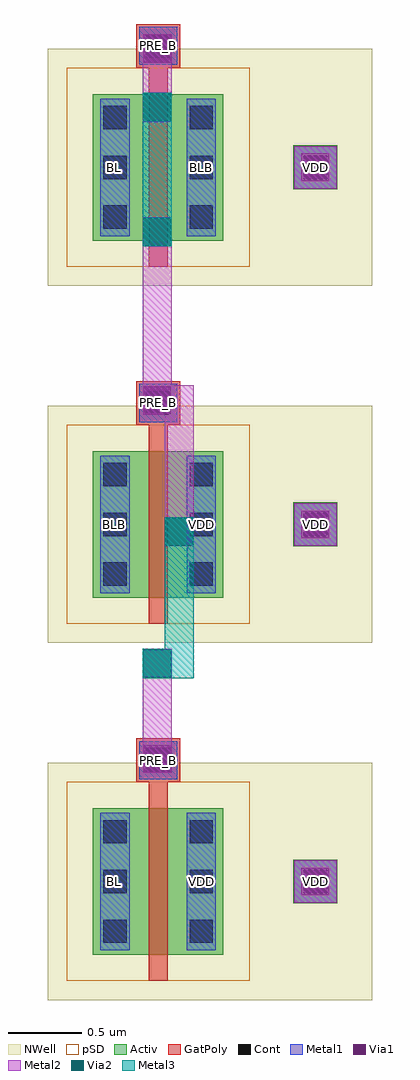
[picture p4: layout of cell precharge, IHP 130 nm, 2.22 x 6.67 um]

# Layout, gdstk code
import gdstk
lib = gdstk.Library(unit=1e-6, precision=1e-09)
def R(c, l, rs):  # rectangles x0, y0, x1, y1
    for r in rs: c.add(gdstk.rectangle(r[:2], r[2:], *l))
def A(c, l, x, y, w, h, nx, ny, dx, dy):  # array of equal rectangles
    R(c, l, [(x+i*dx, y+j*dy, x+i*dx+w, y+j*dy+h) for i in range(nx) for j in range(ny)])
Activ = (1, 0)
GatPoly = (5, 0)
Cont = (6, 0)
Metal1 = (8, 0)
Metal2 = (10, 0)
pSD = (14, 0)
Via1 = (19, 0)
Via2 = (29, 0)
Metal3 = (30, 0)
NWell = (31, 0)

sg13_lv_pmos_w1_l0p13 = lib.new_cell('sg13_lv_pmos_w1_l0p13')
R(sg13_lv_pmos_w1_l0p13, Activ, [(0,0,0.89,1), (1.37,0.35,1.67,0.65)])
R(sg13_lv_pmos_w1_l0p13, GatPoly, [(0.38,-0.18,0.51,1.2), (0.295,1.18,0.595,1.48)])
A(sg13_lv_pmos_w1_l0p13, Cont, 0.07, 0.08, 0.16, 0.16, 1, 3, 0, 0.34)
A(sg13_lv_pmos_w1_l0p13, Cont, 0.66, 0.08, 0.16, 0.16, 1, 3, 0, 0.34)
R(sg13_lv_pmos_w1_l0p13, Cont, [(1.44,0.42,1.6,0.58), (0.365,1.25,0.525,1.41)])
R(sg13_lv_pmos_w1_l0p13, Metal1, [(0.05,0.03,0.25,0.97), (0.64,0.03,0.84,0.97), (1.375,0.355,1.665,0.645), (0.315,1.2,0.575,1.46)])
R(sg13_lv_pmos_w1_l0p13, Metal2, [(1.375,0.355,1.665,0.645)])
R(sg13_lv_pmos_w1_l0p13, pSD, [(-0.18,-0.18,1.07,1.18)])
R(sg13_lv_pmos_w1_l0p13, Via1, [(1.425,0.405,1.615,0.595)])
R(sg13_lv_pmos_w1_l0p13, NWell, [(-0.31,-0.31,1.91,1.31)])

precharge = lib.new_cell('precharge')
R(precharge, Metal1, [(0.645,1.545,0.855,1.755), (0.645,3.995,0.855,4.205), (0.645,6.395,0.855,6.605)])
R(precharge, Metal2, [(0.65,1.55,0.85,1.75), (0.65,1.55,0.85,2.4), (0.65,2.2,0.85,2.4), (0.8,3.1,1,3.3), (0.8,3.1,1,4.2), (0.65,4,0.85,4.2), (0.65,4,1,4.2), (0.65,4,0.85,5.35), (0.65,5.15,0.85,5.35), (0.65,6,0.85,6.2), (0.65,6,0.85,6.6), (0.65,6.4,0.85,6.6)])
R(precharge, Via1, [(0.655,1.555,0.845,1.745), (0.655,4.005,0.845,4.195), (0.655,6.405,0.845,6.595)])
R(precharge, Via2, [(0.655,2.205,0.845,2.395), (0.805,3.105,0.995,3.295), (0.655,5.155,0.845,5.345), (0.655,6.005,0.845,6.195)])
R(precharge, Metal3, [(0.65,2.2,0.85,2.4), (0.65,2.2,1,2.4), (0.8,2.2,1,3.3), (0.8,3.1,1,3.3), (0.65,5.15,0.85,5.35), (0.65,5.15,0.85,6.2), (0.65,6,0.85,6.2)])
precharge.add(gdstk.Reference(sg13_lv_pmos_w1_l0p13, (0.31,0.31)))
precharge.add(gdstk.Reference(sg13_lv_pmos_w1_l0p13, (0.31,2.75)))
precharge.add(gdstk.Reference(sg13_lv_pmos_w1_l0p13, (0.31,5.19)))
precharge.add(gdstk.Label('BL', (0.46,0.81), layer=8, texttype=25))
precharge.add(gdstk.Label('PRE_B', (0.755,1.64), layer=8, texttype=25))
precharge.add(gdstk.Label('VDD', (1.05,0.81), layer=8, texttype=25))
precharge.add(gdstk.Label('VDD', (1.83,0.81), layer=8, texttype=25))
precharge.add(gdstk.Label('BLB', (0.46,3.25), layer=8, texttype=25))
precharge.add(gdstk.Label('PRE_B', (0.755,4.08), layer=8, texttype=25))
precharge.add(gdstk.Label('VDD', (1.05,3.25), layer=8, texttype=25))
precharge.add(gdstk.Label('VDD', (1.83,3.25), layer=8, texttype=25))
precharge.add(gdstk.Label('BL', (0.46,5.69), layer=8, texttype=25))
precharge.add(gdstk.Label('PRE_B', (0.755,6.52), layer=8, texttype=25))
precharge.add(gdstk.Label('BLB', (1.05,5.69), layer=8, texttype=25))
precharge.add(gdstk.Label('VDD', (1.83,5.69), layer=8, texttype=25))

lib.write_gds('precharge.gds')
